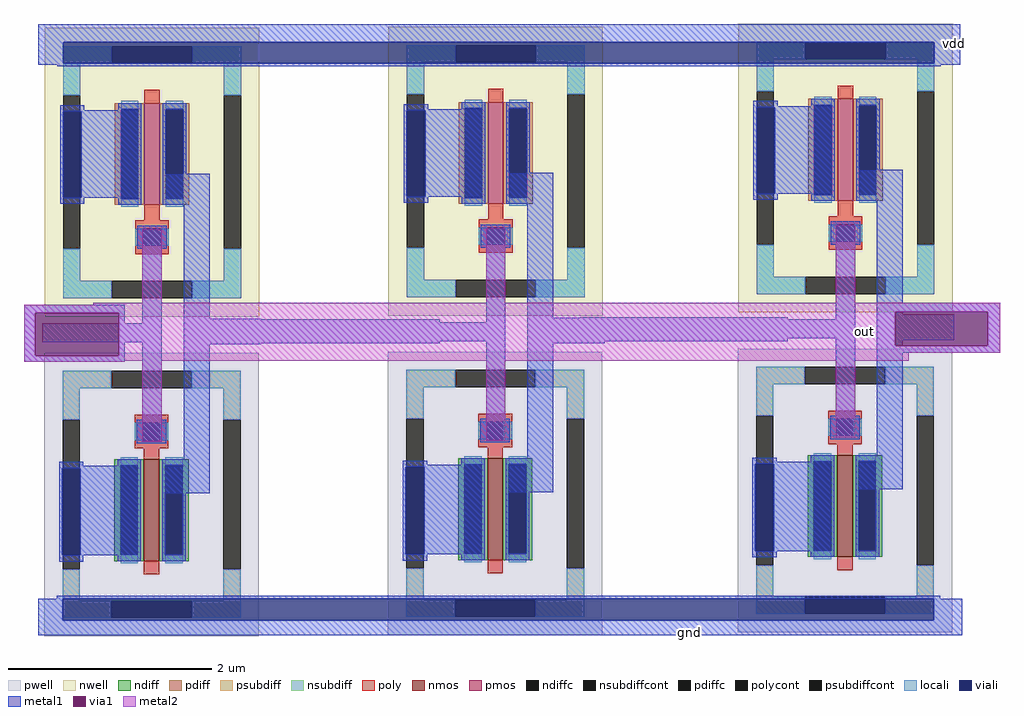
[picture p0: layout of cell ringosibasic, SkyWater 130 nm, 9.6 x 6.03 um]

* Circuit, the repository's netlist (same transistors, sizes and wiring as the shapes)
** sch_path: /home/b_hidayat/oscillator/ringosibasic.sch
.subckt ringosibasic vdd out gnd
*.PININFO vdd:B gnd:B out:O
x1 vdd out net2 gnd terbaru
x2 vdd net2 net1 gnd terbaru
x3 vdd net1 out gnd terbaru
.ends

* expanding   symbol:  terbaru.sym # of pins=4
** sym_path: /home/b_hidayat/oscillator/terbaru.sym
** sch_path: /home/b_hidayat/oscillator/terbaru.sch
.subckt terbaru vdd in out gnd
*.PININFO in:I gnd:I vdd:I out:O
XM1 out in gnd gnd sky130_fd_pr__nfet_01v8 L=0.15 W=1 nf=1 m=1
XM2 out in vdd vdd sky130_fd_pr__pfet_01v8 L=0.15 W=1 nf=1 m=1
.ends

.end

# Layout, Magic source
magic
tech sky130A
magscale 1 2
<< viali >>
rect 41 1127 1755 1169
rect 40 32 1754 74
<< metal1 >>
rect -8 1169 1806 1204
rect -8 1127 41 1169
rect 1755 1127 1806 1169
rect -8 1124 1806 1127
rect 29 1121 1767 1124
rect -36 636 162 652
rect -36 552 -14 636
rect 150 552 162 636
rect 1660 638 1884 656
rect 358 576 782 624
rect 1058 580 1466 628
rect 1660 572 1678 638
rect 1860 572 1884 638
rect 1660 558 1884 572
rect -36 540 162 552
rect 28 74 1766 80
rect -8 32 40 74
rect 1754 32 1810 74
rect -8 2 1810 32
<< via1 >>
rect -14 552 150 636
rect 1678 572 1860 638
<< metal2 >>
rect 100 652 1884 656
rect -36 638 1884 652
rect -36 636 1678 638
rect -36 552 -14 636
rect 150 572 1678 636
rect 1860 572 1884 638
rect 150 558 1884 572
rect 150 552 1704 558
rect -36 542 1704 552
rect -36 540 162 542
use terbaru  x1
transform 1 0 57 0 1 53
box -57 -53 373 1144
use terbaru  x2
transform 1 0 733 0 1 55
box -57 -53 373 1144
use terbaru  x3
transform 1 0 1421 0 1 61
box -57 -53 373 1144
<< labels >>
flabel metal1 1273 7 1273 7 0 FreeSans 160 0 0 0 gnd
port 0 nsew
flabel metal2 1618 600 1618 600 0 FreeSans 160 0 0 0 out
port 1 nsew
flabel metal1 1795 1166 1795 1166 0 FreeSans 160 0 0 0 vdd
port 2 nsew
<< end >>

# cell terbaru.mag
magic
tech sky130A
magscale 1 2
<< viali >>
rect -16 810 20 980
rect -18 106 18 278
<< metal1 >>
rect -22 982 26 992
rect -22 980 132 982
rect -22 810 -16 980
rect 20 810 132 980
rect 221 856 272 857
rect -22 798 26 810
rect 182 804 272 856
rect 140 563 178 748
rect -57 525 178 563
rect 140 330 178 525
rect 221 572 272 804
rect 221 521 373 572
rect -24 282 24 290
rect -24 278 134 282
rect 221 280 272 521
rect -24 106 -18 278
rect 18 106 134 278
rect 184 228 272 280
rect -24 94 24 106
<< metal2 >>
rect 140 330 178 748
use sky130_fd_pr__nfet_01v8_64Z3AY  XM1
transform 1 0 158 0 1 226
box -211 -279 211 279
use sky130_fd_pr__pfet_01v8_LGS3BL  XM2
transform 1 0 159 0 1 860
box -211 -284 211 284
<< labels >>
flabel metal1 62 902 64 904 0 FreeSans 80 0 0 0 vdd
port 0 nsew
flabel metal1 54 198 56 200 0 FreeSans 80 0 0 0 gnd
port 1 nsew
flabel metal1 360 550 362 552 0 FreeSans 80 0 0 0 out
port 3 nsew
flabel metal1 -34 548 -32 550 0 FreeSans 80 0 0 0 in
port 5 nsew
<< end >>

# cell sky130_fd_pr__nfet_01v8_64Z3AY: kit device sky130_fd_pr__nfet_01v8, w 1.0 l 0.15 m 1 nf 1 diffcov 100 polycov 100 guard 1 glc 1 grc 1 gtc 1 gbc 1 tbcov 100 rlcov 100 topc 1 botc 0 poverlap 0 doverlap 1 lmin 0.15 wmin 0.42 compatible {sky130_fd_pr__nfet_01v8 sky130_fd_pr__nfet_01v8_lvt sky130_fd_bs_flash__special_sonosfet_star sky130_fd_pr__nfet_g5v0d10v5 sky130_fd_pr__nfet_05v0_nvt sky130_fd_pr__nfet_03v3_nvt} full_metal 1 viasrc 100 viadrn 100 viagate 100 viagb 0 viagr 0 viagl 0 viagt 0

# cell sky130_fd_pr__pfet_01v8_LGS3BL: kit device sky130_fd_pr__pfet_01v8, w 1.0 l 0.15 m 1 nf 1 diffcov 100 polycov 100 guard 1 glc 1 grc 1 gtc 1 gbc 1 tbcov 100 rlcov 100 topc 0 botc 1 poverlap 0 doverlap 1 lmin 0.15 wmin 0.42 compatible {sky130_fd_pr__pfet_01v8 sky130_fd_pr__pfet_01v8_lvt sky130_fd_pr__pfet_01v8_hvt sky130_fd_pr__pfet_g5v0d10v5} full_metal 1 viasrc 100 viadrn 100 viagate 100 viagb 0 viagr 0 viagl 0 viagt 0
